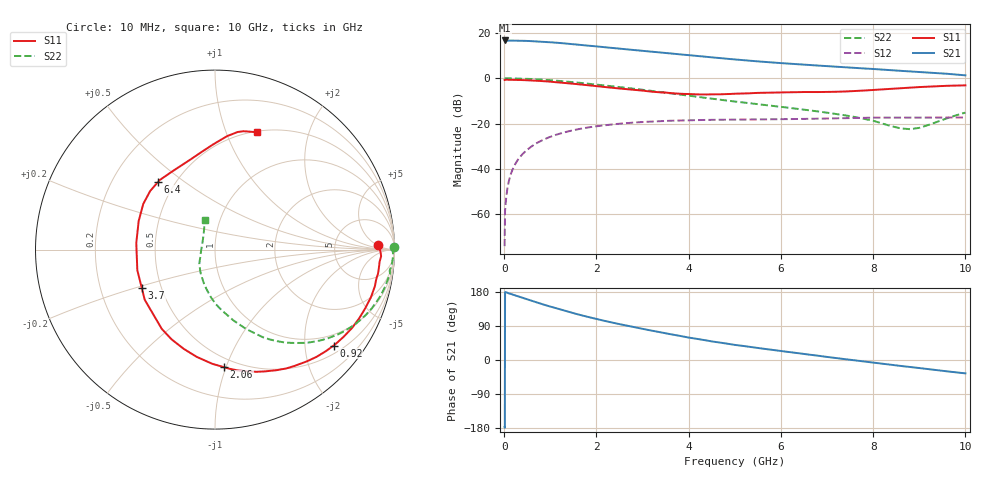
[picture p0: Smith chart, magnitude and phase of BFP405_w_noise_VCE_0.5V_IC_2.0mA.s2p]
! Infineon Technologies  Discrete & RF Semiconductors
! BFP405
! VCE =  0.5 V,  IC =  2.0 mA
! Common Emitter S-Parameters:  Jan 2016
# GHz  S  MA  R  50
!  f  S11  S21  S12  S22
! GHz  MAG  ANG  MAG  ANG  MAG  ANG  MAG  ANG
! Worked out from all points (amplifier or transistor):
!   233 points, 10 MHz to 10 GHz, reference 50 ohm
!   highest |S21| = 16.6 dB at 10 MHz (marker M1)
!   |S21| within 3 dB of that: start of sweep to 2.194 GHz
!   unconditionally stable (mu >= 1): start of sweep to 10.88 MHz; 4.21 GHz to end of sweep
!   at 200 MHz: K = 0.05, MSG = 28.0 dB, |S12| = -39.5 dB
!   at 1.74 GHz: K = 0.37, MSG = 18.2 dB, |S12| = -22.0 dB
!   at 10 GHz: K = 1.74, MAG = 4.3 dB, |S12| = -17.3 dB
!   lowest NFmin = 0.86 dB at 900 MHz
!   S11 on the Smith chart (normalised r, x): 10 MHz: 20, +6; 920 MHz: 0.69, -2.66; 2.06 GHz: 0.43, -0.98; 3.7 GHz: 0.39, -0.21; 6.4 GHz: 0.40, +0.40; 10 GHz: 0.51, +1.28
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0.01  0.9111 1.6  6.759 -177.0  0.0002 -1.8  0.9959 0.7
0.015  0.9165 0.4  6.71 -178.9  0.0006 85.6  0.9925 0.4
0.02  0.9224 -0.8  6.669 179.2  0.0012 95.2  0.9892 0.0
0.03  0.9237 -1.3  6.671 179.0  0.0017 92.0  0.9902 -0.3
0.09  0.9209 -3.8  6.714 176.4  0.0048 87.4  0.9921 -2.3
0.155  0.9191 -6.6  6.715 174.0  0.0083 86.1  0.9894 -4.0
0.5  0.8989 -21.3  6.608 160.1  0.0265 77.8  0.9669 -13.1
0.92  0.8497 -39.0  6.256 143.9  0.0474 67.2  0.9143 -23.6
1.3  0.7888 -54.8  5.831 130.3  0.0639 58.1  0.8514 -32.3
1.68  0.7222 -70.4  5.38 117.9  0.0777 49.8  0.7822 -40.0
2.06  0.6571 -85.6  4.929 106.6  0.0889 42.4  0.7142 -46.7
2.66  0.5712 -109.9  4.307 90.5  0.1024 32.2  0.6111 -56.3
3  0.532 -123.9  4.001 82.0  0.1084 26.9  0.5558 -61.4
3.4  0.4858 -140.1  3.656 72.8  0.1133 21.2  0.4924 -66.8
3.7  0.4606 -152.4  3.42 66.1  0.1161 17.5  0.4492 -70.9
4.5  0.4401 175.3  2.874 49.1  0.1211 8.6  0.3517 -82.2
5.1  0.4565 156.9  2.529 38.4  0.1226 3.3  0.2977 -89.9
6.4  0.4923 130.4  2.017 17.6  0.1264 -5.0  0.2088 -105.7
6.8  0.4942 122.2  1.895 11.4  0.1283 -7.4  0.185 -111.5
8.4  0.5844 91.3  1.493 -12.8  0.1354 -18.1  0.0873 -158.7
9  0.6364 83.8  1.37 -21.2  0.1359 -21.7  0.0804 149.6
10  0.6941 70.5  1.153 -35.3  0.1361 -26.7  0.1744 109.4
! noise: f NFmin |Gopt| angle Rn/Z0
0.9  0.86  0.58  15  0.42
1.8  1.21  0.46  27  0.37
2.4  1.43  0.38  38  0.36
3  1.47  0.38  52  0.33
4  1.69  0.25  80  0.26
5  2.05  0.21  114  0.21
